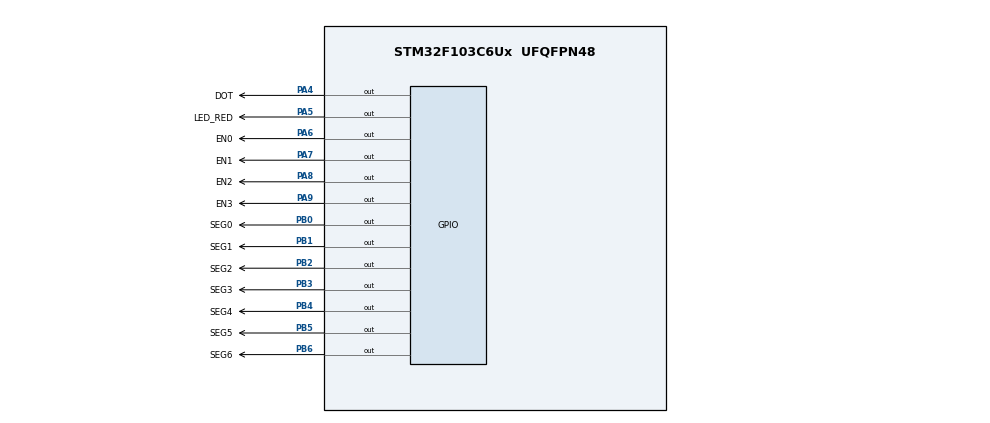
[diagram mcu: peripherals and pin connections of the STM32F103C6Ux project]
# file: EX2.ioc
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Mcu.Family=STM32F1
Mcu.Name=STM32F103C6Ux
Mcu.Package=UFQFPN48
NVIC.PriorityGroup=NVIC_PRIORITYGROUP_4
NVIC.TIM2_IRQn=true\:0\:0\:false\:false\:true\:true\:true
PA13.Mode=Serial_Wire
PA13.Signal=SYS_JTMS-SWDIO
PA14.Mode=Serial_Wire
PA14.Signal=SYS_JTCK-SWCLK
PA4.GPIO_Label=DOT
PA4.Signal=GPIO_Output
PA5.GPIO_Label=LED_RED
PA5.Signal=GPIO_Output
PA6.GPIO_Label=EN0
PA6.Signal=GPIO_Output
PA7.GPIO_Label=EN1
PA7.Signal=GPIO_Output
PA8.GPIO_Label=EN2
PA8.Signal=GPIO_Output
PA9.GPIO_Label=EN3
PA9.Signal=GPIO_Output
PB0.GPIO_Label=SEG0
PB0.Signal=GPIO_Output
PB1.GPIO_Label=SEG1
PB1.Signal=GPIO_Output
PB2.GPIO_Label=SEG2
PB2.Signal=GPIO_Output
PB3.GPIO_Label=SEG3
PB3.Signal=GPIO_Output
PB4.GPIO_Label=SEG4
PB4.Signal=GPIO_Output
PB5.GPIO_Label=SEG5
PB5.Signal=GPIO_Output
PB6.GPIO_Label=SEG6
PB6.Signal=GPIO_Output
ProjectManager.HeapSize=0x200
ProjectManager.StackSize=0x400
ProjectManager.TargetToolchain=STM32CubeIDE
RCC.APB1Freq_Value=8000000
RCC.APB2Freq_Value=8000000
TIM2.Period=9
TIM2.Prescaler=7999
VP_TIM2_VS_ClockSourceINT.Mode=Internal
board=custom

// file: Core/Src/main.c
/* USER CODE BEGIN Header */
/**
  ******************************************************************************
  * @file           : main.c
  * @brief          : Main program body
  ******************************************************************************
  * @attention
  *
  * <h2><center>&copy; Copyright (c) 2023 STMicroelectronics.
  * All rights reserved.</center></h2>
  *
  * This software component is licensed by ST under BSD 3-Clause license,
  * the "License"; You may not use this file except in compliance with the
  * License. You may obtain a copy of the License at:
  *                        opensource.org/licenses/BSD-3-Clause
  *
  ******************************************************************************
  */
/* USER CODE END Header */
#include "main.h"

TIM_HandleTypeDef htim2;

void SystemClock_Config(void);
static void MX_GPIO_Init(void);
static void MX_TIM2_Init(void);

int main(void)
{

  /* MCU Configuration--------------------------------------------------------*/

  /* Reset of all peripherals, Initializes the Flash interface and the Systick. */
  HAL_Init();

  /* Configure the system clock */
  SystemClock_Config();

  /* Initialize all configured peripherals */
  MX_GPIO_Init();
  MX_TIM2_Init();
  /* USER CODE BEGIN 2 */
  HAL_TIM_Base_Start_IT(&htim2);
  /* USER CODE END 2 */

  /* Infinite loop */
  while (1)
  {

  }
}

void SystemClock_Config(void)
{
  RCC_OscInitTypeDef RCC_OscInitStruct = {0};
  RCC_ClkInitTypeDef RCC_ClkInitStruct = {0};

  /** Initializes the RCC Oscillators according to the specified parameters
  * in the RCC_OscInitTypeDef structure.
  */
  RCC_OscInitStruct.OscillatorType = RCC_OSCILLATORTYPE_HSI;
  RCC_OscInitStruct.HSIState = RCC_HSI_ON;
  RCC_OscInitStruct.HSICalibrationValue = RCC_HSICALIBRATION_DEFAULT;
  RCC_OscInitStruct.PLL.PLLState = RCC_PLL_NONE;
  if (HAL_RCC_OscConfig(&RCC_OscInitStruct) != HAL_OK)
  {
    Error_Handler();
  }
  /** Initializes the CPU, AHB and APB buses clocks
  */
  RCC_ClkInitStruct.ClockType = RCC_CLOCKTYPE_HCLK|RCC_CLOCKTYPE_SYSCLK
                              |RCC_CLOCKTYPE_PCLK1|RCC_CLOCKTYPE_PCLK2;
  RCC_ClkInitStruct.SYSCLKSource = RCC_SYSCLKSOURCE_HSI;
  RCC_ClkInitStruct.AHBCLKDivider = RCC_SYSCLK_DIV1;
  RCC_ClkInitStruct.APB1CLKDivider = RCC_HCLK_DIV1;
  RCC_ClkInitStruct.APB2CLKDivider = RCC_HCLK_DIV1;

  if (HAL_RCC_ClockConfig(&RCC_ClkInitStruct, FLASH_LATENCY_0) != HAL_OK)
  {
    Error_Handler();
  }
}

static void MX_TIM2_Init(void)
{

  TIM_ClockConfigTypeDef sClockSourceConfig = {0};
  TIM_MasterConfigTypeDef sMasterConfig = {0};

  htim2.Instance = TIM2;
  htim2.Init.Prescaler = 7999;
  htim2.Init.CounterMode = TIM_COUNTERMODE_UP;
  htim2.Init.Period = 9;
  htim2.Init.ClockDivision = TIM_CLOCKDIVISION_DIV1;
  htim2.Init.AutoReloadPreload = TIM_AUTORELOAD_PRELOAD_DISABLE;
  if (HAL_TIM_Base_Init(&htim2) != HAL_OK)
  {
    Error_Handler();
  }
  sClockSourceConfig.ClockSource = TIM_CLOCKSOURCE_INTERNAL;
  if (HAL_TIM_ConfigClockSource(&htim2, &sClockSourceConfig) != HAL_OK)
  {
    Error_Handler();
  }
  sMasterConfig.MasterOutputTrigger = TIM_TRGO_RESET;
  sMasterConfig.MasterSlaveMode = TIM_MASTERSLAVEMODE_DISABLE;
  if (HAL_TIMEx_MasterConfigSynchronization(&htim2, &sMasterConfig) != HAL_OK)
  {
    Error_Handler();
  }

}

static void MX_GPIO_Init(void)
{
  GPIO_InitTypeDef GPIO_InitStruct = {0};

  /* GPIO Ports Clock Enable */
  __HAL_RCC_GPIOA_CLK_ENABLE();
  __HAL_RCC_GPIOB_CLK_ENABLE();

  /*Configure GPIO pin Output Level */
  HAL_GPIO_WritePin(GPIOA, DOT_Pin|LED_RED_Pin|EN0_Pin|EN1_Pin
                          |EN2_Pin|EN3_Pin, GPIO_PIN_RESET);

  /*Configure GPIO pin Output Level */
  HAL_GPIO_WritePin(GPIOB, SEG0_Pin|SEG1_Pin|SEG2_Pin|SEG3_Pin
                          |SEG4_Pin|SEG5_Pin|SEG6_Pin, GPIO_PIN_RESET);

  /*Configure GPIO pins : DOT_Pin LED_RED_Pin EN0_Pin EN1_Pin
                           EN2_Pin EN3_Pin */
  GPIO_InitStruct.Pin = DOT_Pin|LED_RED_Pin|EN0_Pin|EN1_Pin
                          |EN2_Pin|EN3_Pin;
  GPIO_InitStruct.Mode = GPIO_MODE_OUTPUT_PP;
  GPIO_InitStruct.Pull = GPIO_NOPULL;
  GPIO_InitStruct.Speed = GPIO_SPEED_FREQ_LOW;
  HAL_GPIO_Init(GPIOA, &GPIO_InitStruct);

  /*Configure GPIO pins : SEG0_Pin SEG1_Pin SEG2_Pin SEG3_Pin
                           SEG4_Pin SEG5_Pin SEG6_Pin */
  GPIO_InitStruct.Pin = SEG0_Pin|SEG1_Pin|SEG2_Pin|SEG3_Pin
                          |SEG4_Pin|SEG5_Pin|SEG6_Pin;
  GPIO_InitStruct.Mode = GPIO_MODE_OUTPUT_PP;
  GPIO_InitStruct.Pull = GPIO_NOPULL;
  GPIO_InitStruct.Speed = GPIO_SPEED_FREQ_LOW;
  HAL_GPIO_Init(GPIOB, &GPIO_InitStruct);

}

/* USER CODE BEGIN 4 */
void display7SEG( int num ){
    char LED7SEG [10] = {0xC0, 0xF9, 0xA4, 0xB0, 0x99, 0x92, 0x82, 0xF8, 0x80, 0x90 };
    for ( int i = 0; i < 7; ++ i) {
    HAL_GPIO_WritePin ( GPIOB , GPIO_PIN_0 << i , ( LED7SEG [num ] >> i ) & 1) ;}
    }
void pinenable(int a){
  	if (a == 0){
  		HAL_GPIO_WritePin(GPIOA, EN0_Pin, RESET);
  		HAL_GPIO_WritePin(GPIOA, EN1_Pin, SET);
  		HAL_GPIO_WritePin(GPIOA, EN2_Pin, SET);
  		HAL_GPIO_WritePin(GPIOA, EN3_Pin, SET);
  	}
  	if (a == 1){
  		HAL_GPIO_WritePin(GPIOA, EN0_Pin, SET);
  		HAL_GPIO_WritePin(GPIOA, EN1_Pin, RESET);
  		HAL_GPIO_WritePin(GPIOA, EN2_Pin, SET);
  		HAL_GPIO_WritePin(GPIOA, EN3_Pin, SET);
  	}
  	if (a == 2){
  	  	HAL_GPIO_WritePin(GPIOA, EN1_Pin, SET);
  	  	HAL_GPIO_WritePin(GPIOA, EN0_Pin, SET);
  	  	HAL_GPIO_WritePin(GPIOA, EN2_Pin, RESET);
  	  	HAL_GPIO_WritePin(GPIOA, EN3_Pin, SET);
  	  	}
  	if (a == 3){
  	  	HAL_GPIO_WritePin(GPIOA, EN1_Pin, SET);
  	  	HAL_GPIO_WritePin(GPIOA, EN0_Pin, SET);
  	  	HAL_GPIO_WritePin(GPIOA, EN2_Pin, SET);
  	  	HAL_GPIO_WritePin(GPIOA, EN3_Pin, RESET);
  	  	}
  }
 void LED7SEG( int index ){
  	switch (index) {
  		case 1:
  			display7SEG(1);
  			pinenable(0);
  		break;
  		case 2:
  			display7SEG(2);
  			pinenable(1);
  		break;
  		case 3:
  			display7SEG(3);
  			pinenable(2);
  		break;
  		case 0:
  			display7SEG(0);
  			pinenable(3);
  	}
  }
  int counter = 50;
  int status = 0;
  void HAL_TIM_PeriodElapsedCallback(TIM_HandleTypeDef *htim){
	  counter--;
	 	  	if (counter <=0){
	 	  		counter = 50;
	 	  		HAL_GPIO_TogglePin(GPIOA, LED_RED_Pin);
	 	  		HAL_GPIO_TogglePin(GPIOA, DOT_Pin);
	 	  		LED7SEG(status);
	 	  		status++;
	 	  		if (status >3 ) status = 0;
	 	  	}
  }
/* USER CODE END 4 */

void Error_Handler(void)
{
  __disable_irq();
  while (1)
  {
  }
}

/************************ (C) COPYRIGHT STMicroelectronics *****END OF FILE****/
